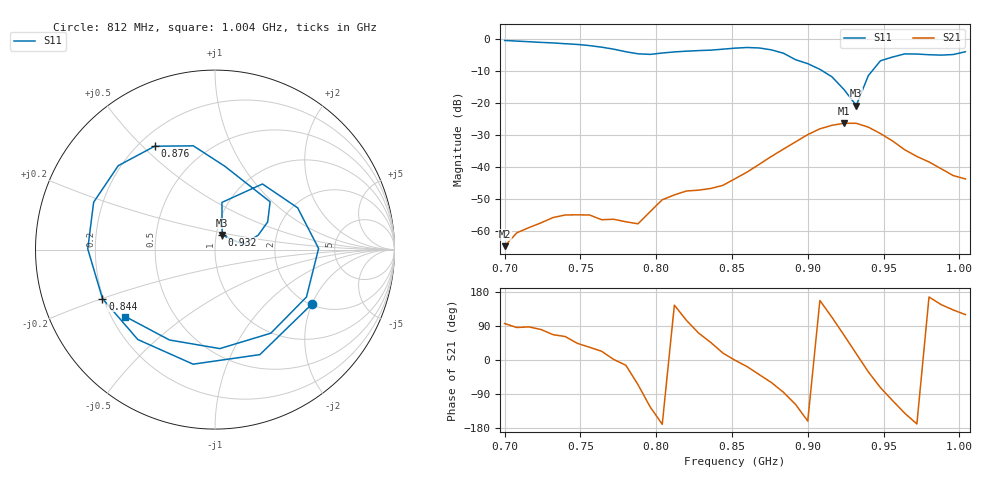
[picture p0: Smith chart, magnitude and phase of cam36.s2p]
# Hz S RI R 50
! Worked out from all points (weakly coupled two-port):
!   39 points, 700 MHz to 1.004 GHz, reference 50 ohm
!   highest |S21| = -26.40 dB at 924 MHz (marker M1); lowest = -64.7 dB at 700 MHz (marker M2)
!   lowest |S11| = -20.9 dB at 932 MHz (marker M3), VSWR 1.20, Z = 53.4 + j8.74 ohm
!   |S11| at or under -10 dB: 909.4 MHz to 942.6 MHz (33.22 MHz wide, 3.59 % of centre)
!   S12 and S22 are empty: the file has one direction only
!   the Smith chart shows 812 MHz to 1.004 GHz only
!   S11 on the Smith chart (normalised r, x): 812 MHz: 2.03, -2.00; 844 MHz: 0.20, -0.20; 876 MHz: 0.26, +0.54; 932 MHz: 1.07, +0.17; 1.004 GHz: 0.26, -0.31
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7e8  0.7681 0.5324  -6.4e-05 0.000577  0 0  0 0
7.24e8  0.8329 -0.2569  0.000222 0.00132  0 0  0 0
7.4e8  0.4459 -0.7016  0.000838 0.00157  0 0  0 0
7.56e8  -0.1949 -0.7524  0.00148 0.000986  0 0  0 0
7.72e8  -0.6571 -0.1868  0.00152 3.66e-05  0 0  0 0
7.8e8  -0.5792 0.2307  0.00135 -0.000336  0 0  0 0
7.88e8  -0.2258 0.5327  0.000546 -0.00117  0 0  0 0
8.04e8  0.577 0.148  -0.00302 -0.000548  0 0  0 0
8.12e8  0.5402 -0.3033  -0.00299 0.00211  0 0  0 0
8.28e8  -0.1219 -0.6383  0.00141 0.0041  0 0  0 0
8.44e8  -0.627 -0.2729  0.00489 0.00162  0 0  0 0
8.52e8  -0.709 0.00388  0.00653 -7.02e-05  0 0  0 0
8.76e8  -0.3359 0.576  0.0074 -0.0125  0 0  0 0
9e8  0.307 0.2662  -0.0301 -0.0103  0 0  0 0
9.08e8  0.2935 0.1542  -0.0361 0.0153  0 0  0 0
9.24e8  0.157 0.0286  0.0202 0.0434  0 0  0 0
9.32e8  0.0399 0.0812  0.0457 0.0137  0 0  0 0
9.4e8  0.0387 0.2629  0.0354 -0.0217  0 0  0 0
9.56e8  0.4604 0.2328  -0.0075 -0.0242  0 0  0 0
9.64e8  0.5772 0.0062  -0.0143 -0.0117  0 0  0 0
9.8e8  0.3111 -0.4658  -0.0116 0.00283  0 0  0 0
1.004e9  -0.4993 -0.3731  -0.00323 0.00564  0 0  0 0
